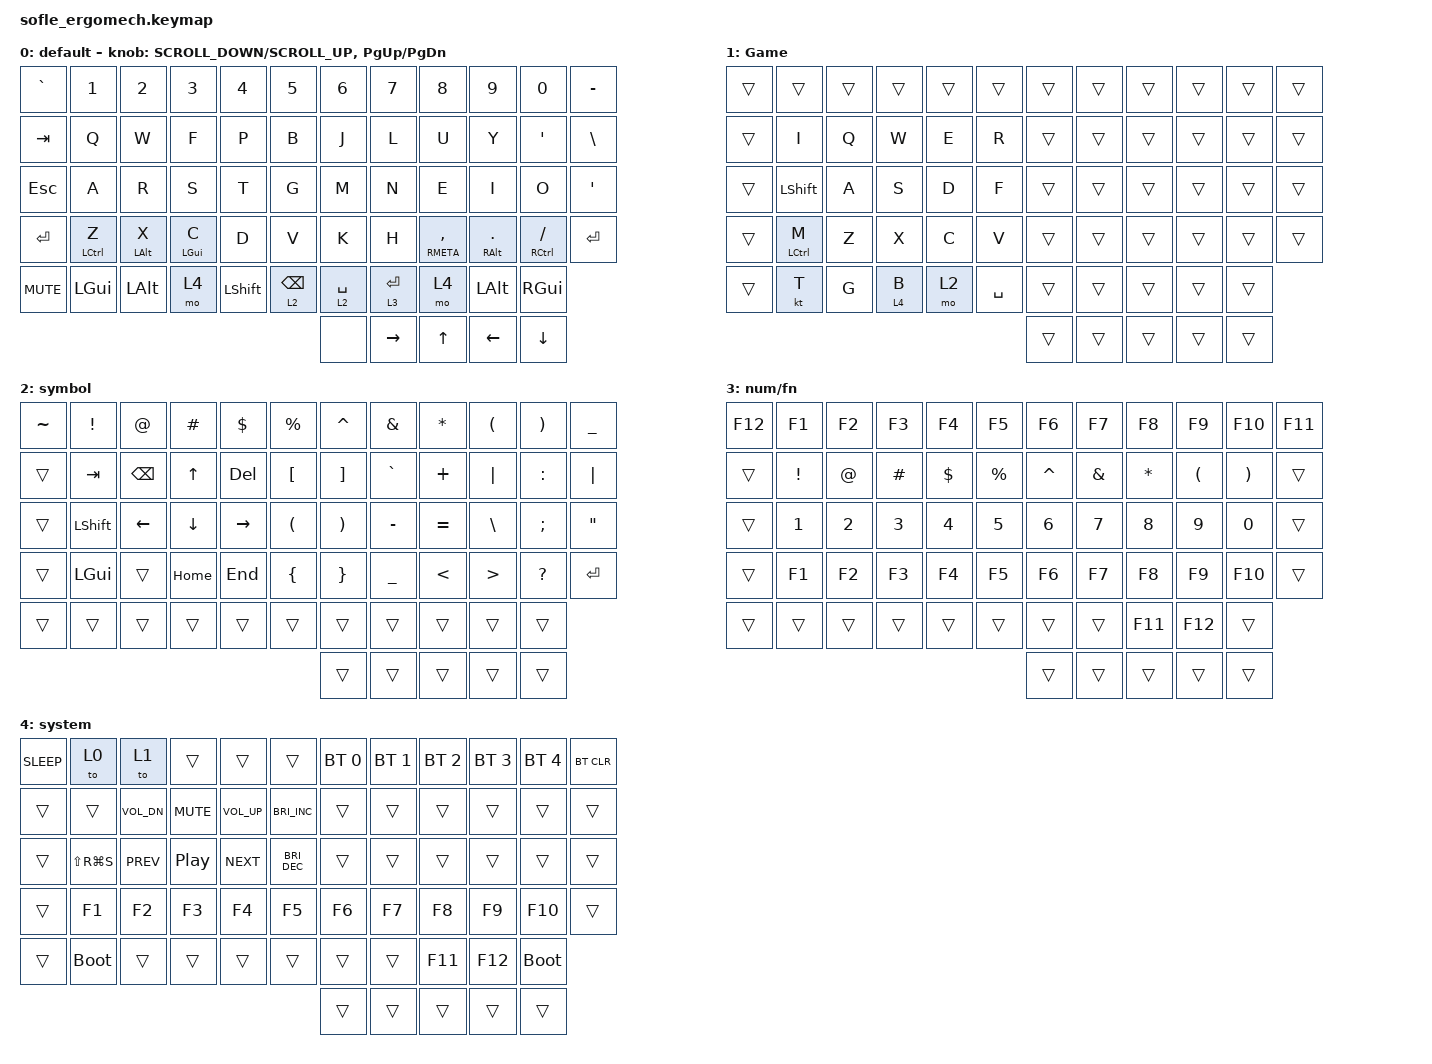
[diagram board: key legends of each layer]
/*
 * Copyright (c) 2020 The ZMK Contributors
 *
 * SPDX-License-Identifier: MIT
 */

#include <behaviors.dtsi>
#include <dt-bindings/zmk/bt.h>
#include <dt-bindings/zmk/keys.h>

#define BASE 0
#define LOWER 1
#define RAISE 2
#define ADJUST 3

&lt {
    quick-tap-ms = <200>;
    flavor = "balanced";
};

/ {
    // Activate ADJUST layer by pressing raise and lower

    conditional_layers { compatible = "zmk,conditional-layers"; };

    behaviors {
        mt_prefer_hold: mt_prefer_hold {
            compatible = "zmk,behavior-hold-tap";
            label = "MT_PREFER_HOLD";
            bindings = <&kp>, <&kp>;

            #binding-cells = <2>;
            tapping-term-ms = <200>;
            quick-tap-ms = <200>;
        };

        lt_prefer_hold: lt_prefer_hold {
            compatible = "zmk,behavior-hold-tap";
            label = "LT_PREFER_HOLD";
            bindings = <&kp>, <&kp>;

            #binding-cells = <2>;
            tapping-term-ms = <200>;
            quick-tap-ms = <200>;
        };

        hrml: hrml {
            compatible = "zmk,behavior-hold-tap";
            label = "HRML";
            bindings = <&kp>, <&kp>;

            #binding-cells = <2>;
            tapping-term-ms = <300>;
            quick-tap-ms = <200>;
            flavor = "balanced";
            require-prior-idle-ms = <200>;
            hold-trigger-on-release;
        };

        hrmr: hrmr {
            compatible = "zmk,behavior-hold-tap";
            label = "HRMR";
            bindings = <&kp>, <&kp>;

            #binding-cells = <2>;
            tapping-term-ms = <300>;
            quick-tap-ms = <200>;
            require-prior-idle-ms = <200>;
            flavor = "balanced";
            hold-trigger-on-release;
            hold-trigger-key-positions = <0 1 2 3 4 5 12 13 14 15 16 17 24 25 26 27 28 29 36 37 38 39 40 41>;
        };
    };

    combos {
        compatible = "zmk,combos";

        MO_SYS {
            bindings = <&mo 4>;
            key-positions = <53 54>;
        };
    };

    keymap {
        compatible = "zmk,keymap";

        colemakdh {
            label = "default";

            // ------------------------------------------------------------------------------------------------------------
            // |   `   |  1  |  2  |  3   |  4   |  5   |                   |  6   |  7    |  8    |  9   |   0   |       |
            // |  ESC  |  Q  |  W  |  E   |  R   |  T   |                   |  Y   |  U    |  I    |  O   |   P   | BKSPC |
            // |  TAB  |  A  |  S  |  D   |  F   |  G   |                   |  H   |  J    |  K    |  L   |   ;   |   '   |
            // | SHIFT |  Z  |  X  |  C   |  V   |  B   |  MUTE  |  |       |  N   |  M    |  ,    |  .   |   /   | SHIFT |
            //               | GUI | ALT  | CTRL | LOWER|  ENTER |  | SPACE | RAISE| CTRL  | ALT   | GUI  |

            bindings = <
&kp GRAVE   &kp N1         &kp N2            &kp N3            &kp N4          &kp N5           &kp N6       &kp N7       &kp N8             &kp N9               &kp N0             &kp MINUS
&kp TAB     &kp Q          &kp W             &kp F             &kp P           &kp B            &kp J        &kp L        &kp U              &kp Y                &kp SQT            &kp BACKSLASH
&kp ESC     &kp A          &kp R             &kp S             &kp T           &kp G            &kp M        &kp N        &kp E              &kp I                &kp O              &kp SQT
&kp ENTER   &hrml LCTRL Z  &hrml LEFT_ALT X  &hrml LEFT_GUI C  &kp D           &kp V            &kp K        &kp H        &hrmr RMETA COMMA  &hrmr RIGHT_ALT DOT  &hrmr RCTRL SLASH  &kp ENTER
&kp C_MUTE  &kp LGUI       &kp LALT          &mo 4             &kp LEFT_SHIFT  &lt 2 BACKSPACE  &lt 2 SPACE  &lt 3 ENTER  &mo 4              &kp LEFT_ALT         &kp RGUI
                                                                                                &none        &kp RIGHT    &kp UP_ARROW       &kp LEFT             &kp DOWN
            >;

            sensor-bindings =
                <&inc_dec_kp K_SCROLL_DOWN K_SCROLL_UP>,
                <&inc_dec_kp PG_UP PG_DN>;
        };

        Gaming {
            bindings = <
&trans  &trans          &trans  &trans   &trans  &trans     &trans  &trans  &trans  &trans  &trans  &trans
&trans  &kp I           &kp Q   &kp W    &kp E   &kp R      &trans  &trans  &trans  &trans  &trans  &trans
&trans  &kp LEFT_SHIFT  &kp A   &kp S    &kp D   &kp F      &trans  &trans  &trans  &trans  &trans  &trans
&trans  &hrml LCTRL M   &kp Z   &kp X    &kp C   &kp V      &trans  &trans  &trans  &trans  &trans  &trans
&trans  &kt T           &kp G   &lt 4 B  &mo 2   &kp SPACE  &trans  &trans  &trans  &trans  &trans
                                                            &trans  &trans  &trans  &trans  &trans
            >;

            label = "Game";
        };

        nav+symbols {
            bindings = <
&kp TILDE  &kp EXCLAMATION  &kp AT_SIGN  &kp HASH  &kp DOLLAR  &kp PERCENT           &kp CARET              &kp AMPERSAND   &kp ASTERISK   &kp LEFT_PARENTHESIS  &kp RIGHT_PARENTHESIS  &kp UNDERSCORE
&trans     &kp TAB          &kp BSPC     &kp UP    &kp DEL     &kp LBKT              &kp RBKT               &kp GRAVE       &kp PLUS       &kp PIPE              &kp COLON              &kp PIPE
&trans     &kp LSHFT        &kp LEFT     &kp DOWN  &kp RIGHT   &kp LEFT_PARENTHESIS  &kp RIGHT_PARENTHESIS  &kp MINUS       &kp EQUAL      &kp BSLH              &kp SEMI               &kp DQT
&trans     &kp LGUI         &trans       &kp HOME  &kp END     &kp LEFT_BRACE        &kp RIGHT_BRACE        &kp UNDERSCORE  &kp LESS_THAN  &kp GREATER_THAN      &kp QUESTION           &kp RET
&trans     &trans           &trans       &trans    &trans      &trans                &trans                 &trans          &trans         &trans                &trans
                                                                                     &trans                 &trans          &trans         &trans                &trans
            >;

            label = "symbol";
        };

        num+fn {
            bindings = <
&kp F12  &kp F1    &kp F2  &kp F3    &kp F4      &kp F5       &kp F6     &kp F7         &kp F8        &kp F9                &kp F10                &kp F11
&trans   &kp EXCL  &kp AT  &kp HASH  &kp DOLLAR  &kp PERCENT  &kp CARET  &kp AMPERSAND  &kp ASTERISK  &kp LEFT_PARENTHESIS  &kp RIGHT_PARENTHESIS  &trans
&trans   &kp N1    &kp N2  &kp N3    &kp N4      &kp N5       &kp N6     &kp N7         &kp N8        &kp N9                &kp N0                 &trans
&trans   &kp F1    &kp F2  &kp F3    &kp F4      &kp F5       &kp F6     &kp F7         &kp F8        &kp F9                &kp F10                &trans
&trans   &trans    &trans  &trans    &trans      &trans       &trans     &trans         &kp F11       &kp F12               &trans
                                                              &trans     &trans         &trans        &trans                &trans
            >;

            label = "num/fn";
        };

        system {
            bindings = <
&kp C_SLEEP  &to 0          &to 1         &trans            &trans        &trans                &bt BT_SEL 0  &bt BT_SEL 1  &bt BT_SEL 2  &bt BT_SEL 3  &bt BT_SEL 4  &bt BT_CLR
&trans       &trans         &kp C_VOL_DN  &kp C_MUTE        &kp C_VOL_UP  &kp C_BRIGHTNESS_INC  &trans        &trans        &trans        &trans        &trans        &trans
&trans       &kp LS(RG(S))  &kp C_PREV    &kp C_PLAY_PAUSE  &kp C_NEXT    &kp C_BRI_DEC         &trans        &trans        &trans        &trans        &trans        &trans
&trans       &kp F1         &kp F2        &kp F3            &kp F4        &kp F5                &kp F6        &kp F7        &kp F8        &kp F9        &kp F10       &trans
&trans       &bootloader    &trans        &trans            &trans        &trans                &trans        &trans        &kp F11       &kp F12       &bootloader
                                                                                                &trans        &trans        &trans        &trans        &trans
            >;

            label = "system";
        };
    };
};
